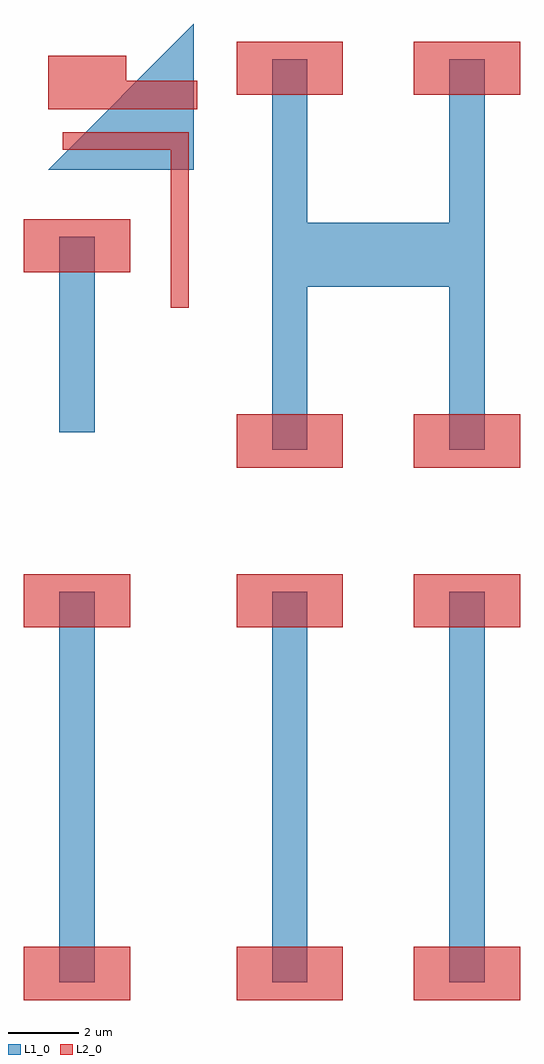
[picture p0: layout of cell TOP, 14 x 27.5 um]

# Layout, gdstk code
from math import pi, radians
import gdstk
lib = gdstk.Library(unit=1e-6, precision=1e-09)
def R(c, l, rs):  # rectangles x0, y0, x1, y1
    for r in rs: c.add(gdstk.rectangle(r[:2], r[2:], *l))
def P(c, l, *ps):  # polygons
    for p in ps: c.add(gdstk.Polygon(p, *l))
L1_0 = (1, 0)
L2_0 = (2, 0)

part = lib.new_cell('PART')
R(part, L1_0, [(0,0,1,5.5)])
R(part, L2_0, [(-1,4.5,2,6)])

child = lib.new_cell('CHILD')
child.add(gdstk.Reference(part, (-0.5,0)))
child.add(gdstk.Reference(part, (0.5,0), rotation=pi))

top = lib.new_cell('TOP')
R(top, L1_0, [(5.8,14.1,11.1,15.9)])
P(top, L1_0, [(-0.8,17.4),(3.3,21.5),(3.3,17.4)])
P(top, L2_0, [(-0.8,19.1),(-0.8,20.6),(1.4,20.6),(1.4,19.9),(3.4,19.9),(3.4,19.1)])
top.add(gdstk.FlexPath([(-0.4,18.2),(2.9,18.2),(2.9,13.5)], 0.5, ends="flush", simple_path=True, layer=2, datatype=0))  # L2_0
top.add(gdstk.Reference(child, (0,0)))
r = gdstk.Reference(child, (6,0)); r.repetition = gdstk.Repetition(2, 2, v1=(5,0), v2=(0,15)); top.add(r)
top.add(gdstk.Reference(part, (-0.5,10)))

lib.write_gds('TOP.gds')
